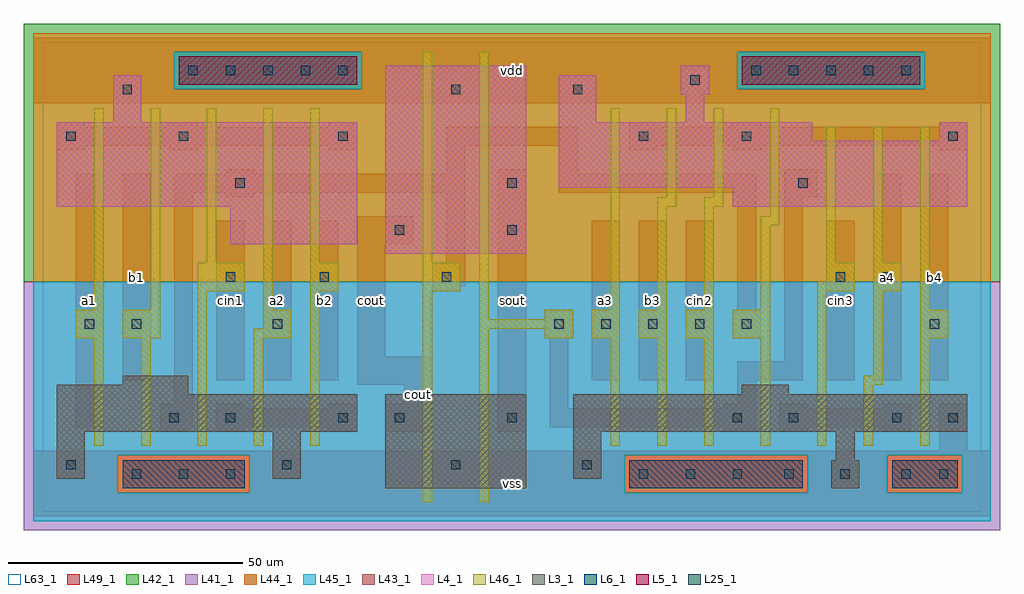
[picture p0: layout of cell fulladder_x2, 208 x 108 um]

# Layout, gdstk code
import gdstk
lib = gdstk.Library(unit=1e-6, precision=1e-09)
def R(c, l, rs):  # rectangles x0, y0, x1, y1
    for r in rs: c.add(gdstk.rectangle(r[:2], r[2:], *l))
def A(c, l, x, y, w, h, nx, ny, dx, dy):  # array of equal rectangles
    R(c, l, [(x+i*dx, y+j*dy, x+i*dx+w, y+j*dy+h) for i in range(nx) for j in range(ny)])
L3_1 = (3, 1)
L4_1 = (4, 1)
L5_1 = (5, 1)
L6_1 = (6, 1)
L25_1 = (25, 1)
L41_1 = (41, 1)
L42_1 = (42, 1)
L43_1 = (43, 1)
L44_1 = (44, 1)
L45_1 = (45, 1)
L46_1 = (46, 1)
L49_1 = (49, 1)
L63_1 = (63, 1)

fulladder_x2 = lib.new_cell('fulladder_x2')
R(fulladder_x2, L3_1, [(73,5,103,25), (168,5,174,11), (3,7,9,17), (49,7,55,17), (113,7,119,17), (169,11,173,17), (3,17,67,25), (113,17,197,25), (3,25,31,27), (149,25,159,27), (17,27,31,29)])
R(fulladder_x2, L4_1, [(73,55,103,95), (40,57,67,65), (3,65,67,83), (147,65,197,69), (110,69,197,79), (110,79,164,83), (191,79,197,83), (15,83,21,93), (110,83,118,93), (137,83,141,89), (136,89,142,95)])
R(fulladder_x2, L5_1, [(29,91,67,97), (149,91,187,97)])
R(fulladder_x2, L6_1, [(17,5,43,11), (125,5,162,11), (181,5,195,11)])
A(fulladder_x2, L25_1, 19, 7, 2, 2, 3, 1, 10, 0)
A(fulladder_x2, L25_1, 127, 7, 2, 2, 3, 1, 10, 0)
A(fulladder_x2, L25_1, 109, 39, 2, 2, 5, 1, 10, 0)
A(fulladder_x2, L25_1, 31, 93, 2, 2, 5, 1, 8, 0)
A(fulladder_x2, L25_1, 151, 93, 2, 2, 5, 1, 8, 0)
R(fulladder_x2, L25_1, [(158,7,160,9), (170,7,172,9), (183,7,185,9), (191,7,193,9), (5,9,7,11), (51,9,53,11), (87,9,89,11), (115,9,117,11), (27,19,29,21), (39,19,41,21), (63,19,65,21), (75,19,77,21), (99,19,101,21), (147,19,149,21), (159,19,161,21), (181,19,183,21), (193,19,195,21), (9,39,11,41), (19,39,21,41), (49,39,51,41), (189,39,191,41), (39,49,41,51), (59,49,61,51), (85,49,87,51), (169,49,171,51), (179,49,181,51), (75,59,77,61), (99,59,101,61), (41,69,43,71), (99,69,101,71), (161,69,163,71), (5,79,7,81), (29,79,31,81), (63,79,65,81), (127,79,129,81), (149,79,151,81), (193,79,195,81), (17,89,19,91), (87,89,89,91), (113,89,115,91), (138,91,140,93)])
R(fulladder_x2, L41_1, [(-4,-4,204,49)])
R(fulladder_x2, L42_1, [(-4,49,204,104)])
R(fulladder_x2, L43_1, [(17,5,43,11), (73,5,103,25), (125,5,162,11), (168,5,174,11), (181,5,195,11), (3,7,9,17), (49,7,55,17), (113,7,119,17), (169,11,173,17), (3,17,67,25), (113,17,197,25), (3,25,31,27), (149,25,159,27), (17,27,31,29), (73,55,103,95), (40,57,67,65), (3,65,67,83), (147,65,197,69), (110,69,197,79), (110,79,164,83), (191,79,197,83), (15,83,21,93), (110,83,118,93), (137,83,141,89), (136,89,142,95), (29,91,67,97), (149,91,187,97)])
R(fulladder_x2, L44_1, [(16,4,44,12), (124,4,163,12), (180,4,196,12), (-2,49,202,90), (-2,90,28,98), (68,90,148,98), (188,90,202,98), (-2,98,202,102)])
R(fulladder_x2, L45_1, [(-2,-2,202,4), (-2,4,16,12), (44,4,124,12), (163,4,180,12), (196,4,202,12), (-2,12,202,49), (28,90,68,98), (148,90,188,98)])
A(fulladder_x2, L46_1, 121, 14, 2, 23, 3, 1, 10, 0)
A(fulladder_x2, L46_1, 117, 37, 6, 6, 3, 1, 10, 0)
R(fulladder_x2, L46_1, [(81,2,83,47), (93,2,95,39), (11,14,13,37), (21,14,23,37), (33,14,35,47), (45,14,47,37), (57,14,59,47), (153,14,155,37), (165,14,167,47), (175,14,177,27), (187,14,189,37), (175,27,179,29), (177,29,179,47), (7,37,13,43), (17,37,25,43), (45,37,53,39), (107,37,113,39), (147,37,155,43), (187,37,193,43), (47,39,53,43), (93,39,113,41), (93,41,95,98), (107,41,113,43), (11,43,13,86), (23,43,25,86), (47,43,49,86), (121,43,123,86), (131,43,133,65), (141,43,143,65), (153,43,155,61), (187,43,189,82), (33,47,43,53), (57,47,63,53), (81,47,89,53), (165,47,173,49), (177,47,183,53), (167,49,173,53), (35,53,37,86), (57,53,59,86), (81,53,83,98), (167,53,169,82), (177,53,179,82), (153,61,157,63), (155,63,157,86), (131,65,135,67), (141,65,145,67), (133,67,135,86), (143,67,145,86)])
A(fulladder_x2, L49_1, 37, 28, 6, 34, 3, 1, 10, 0)
A(fulladder_x2, L49_1, 117, 28, 6, 34, 3, 1, 10, 0)
R(fulladder_x2, L49_1, [(-2,-1,202,13), (191,13,197,23), (25,17,31,18), (37,17,43,18), (61,17,67,18), (73,17,82,18), (97,17,103,73), (145,17,152,18), (157,17,163,18), (179,17,185,18), (7,18,13,72), (25,18,32,23), (37,18,67,22), (73,18,83,23), (108,18,152,22), (157,18,185,22), (37,22,43,23), (61,22,67,23), (108,22,112,37), (145,22,152,23), (157,22,163,23), (179,22,185,23), (28,23,32,68), (77,23,83,27), (148,23,152,28), (67,27,83,33), (17,28,23,72), (148,28,162,32), (167,28,173,62), (177,28,183,72), (187,28,193,72), (158,32,162,67), (67,33,73,57), (107,37,113,43), (147,37,153,43), (148,43,152,68), (83,47,89,48), (83,48,90,53), (86,53,90,68), (67,57,79,63), (39,67,45,68), (158,67,165,73), (28,68,90,72), (110,68,152,72), (39,72,45,73), (86,72,90,78), (110,72,114,78), (3,77,9,78), (27,77,33,78), (61,77,67,78), (125,77,131,78), (147,77,153,78), (191,77,197,78), (3,78,67,82), (86,78,114,82), (125,78,197,82), (3,82,9,83), (27,82,33,83), (61,82,67,83), (125,82,131,83), (147,82,153,83), (191,82,197,83), (-2,87,202,101)])
R(fulladder_x2, L63_1, [(0,0,200,100)])
fulladder_x2.add(gdstk.Label('a1', (10,45), layer=49, texttype=1))
fulladder_x2.add(gdstk.Label('b1', (20,50), layer=49, texttype=1))
fulladder_x2.add(gdstk.Label('b1', (20,50), layer=49, texttype=1))
fulladder_x2.add(gdstk.Label('a1', (10,45), layer=49, texttype=1))
fulladder_x2.add(gdstk.Label('cin1', (40,45), layer=49, texttype=1))
fulladder_x2.add(gdstk.Label('cin1', (40,45), layer=49, texttype=1))
fulladder_x2.add(gdstk.Label('cout', (70,45), layer=49, texttype=1))
fulladder_x2.add(gdstk.Label('b2', (60,45), layer=49, texttype=1))
fulladder_x2.add(gdstk.Label('a2', (50,45), layer=49, texttype=1))
fulladder_x2.add(gdstk.Label('cout', (70,45), layer=49, texttype=1))
fulladder_x2.add(gdstk.Label('a2', (50,45), layer=49, texttype=1))
fulladder_x2.add(gdstk.Label('b2', (60,45), layer=49, texttype=1))
fulladder_x2.add(gdstk.Label('vss', (100,6), layer=49, texttype=1))
fulladder_x2.add(gdstk.Label('vss', (100,6), layer=49, texttype=1))
fulladder_x2.add(gdstk.Label('cout', (80,25), layer=49, texttype=1))
fulladder_x2.add(gdstk.Label('cout', (80,25), layer=49, texttype=1))
fulladder_x2.add(gdstk.Label('sout', (100,45), layer=49, texttype=1))
fulladder_x2.add(gdstk.Label('sout', (100,45), layer=49, texttype=1))
fulladder_x2.add(gdstk.Label('vdd', (100,94), layer=49, texttype=1))
fulladder_x2.add(gdstk.Label('vdd', (100,94), layer=49, texttype=1))
fulladder_x2.add(gdstk.Label('a3', (120,45), layer=49, texttype=1))
fulladder_x2.add(gdstk.Label('a3', (120,45), layer=49, texttype=1))
fulladder_x2.add(gdstk.Label('cin2', (140,45), layer=49, texttype=1))
fulladder_x2.add(gdstk.Label('b3', (130,45), layer=49, texttype=1))
fulladder_x2.add(gdstk.Label('cin2', (140,45), layer=49, texttype=1))
fulladder_x2.add(gdstk.Label('b3', (130,45), layer=49, texttype=1))
fulladder_x2.add(gdstk.Label('a4', (180,50), layer=49, texttype=1))
fulladder_x2.add(gdstk.Label('b4', (190,50), layer=49, texttype=1))
fulladder_x2.add(gdstk.Label('cin3', (170,45), layer=49, texttype=1))
fulladder_x2.add(gdstk.Label('b4', (190,50), layer=49, texttype=1))
fulladder_x2.add(gdstk.Label('a4', (180,50), layer=49, texttype=1))
fulladder_x2.add(gdstk.Label('cin3', (170,45), layer=49, texttype=1))

lib.write_gds('fulladder_x2.gds')
